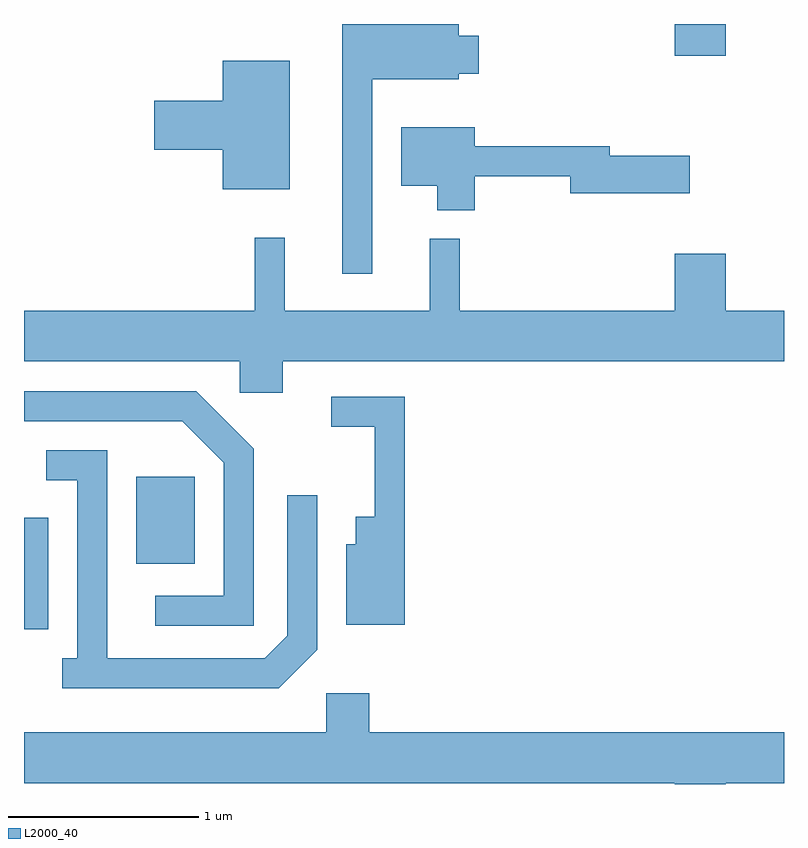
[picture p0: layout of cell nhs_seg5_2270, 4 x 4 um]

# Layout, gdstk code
import gdstk
lib = gdstk.Library(unit=1e-6, precision=1e-09)
def R(c, l, rs):  # rectangles x0, y0, x1, y1
    for r in rs: c.add(gdstk.rectangle(r[:2], r[2:], *l))
def P(c, l, *ps):  # polygons
    for p in ps: c.add(gdstk.Polygon(p, *l))
L2000_40 = (2000, 40)

nhs_seg5_2270 = lib.new_cell('nhs_seg5_2270')
R(nhs_seg5_2270, L2000_40, [(251.611,1510.886,251.739,1511.473), (252.201,1511.231,252.509,1511.689), (255.036,1513.906,255.304,1514.072)])
P(nhs_seg5_2270, L2000_40, [(253.444,1513.781),(253.899,1513.781),(253.899,1513.811),(254.004,1513.811),(254.004,1514.009),(253.899,1514.009),(253.899,1514.072),(253.286,1514.072),(253.286,1512.758),(253.444,1512.758)],
  [(253.009,1513.879),(252.656,1513.879),(252.656,1513.669),(252.296,1513.669),(252.296,1513.411),(252.656,1513.411),(252.656,1513.201),(253.009,1513.201)],
  [(253.984,1513.271),(254.486,1513.271),(254.486,1513.181),(255.114,1513.181),(255.114,1513.379),(254.694,1513.379),(254.694,1513.429),(253.984,1513.429),(253.984,1513.529),(253.596,1513.529),(253.596,1513.221),(253.786,1513.221),(253.786,1513.091),(253.984,1513.091)],
  [(252.974,1512.296),(255.611,1512.296),(255.611,1512.564),(255.304,1512.564),(255.304,1512.864),(255.036,1512.864),(255.036,1512.564),(253.904,1512.564),(253.904,1512.943),(253.746,1512.943),(253.746,1512.564),(252.984,1512.564),(252.984,1512.948),(252.826,1512.948),(252.826,1512.564),(251.611,1512.564),(251.611,1512.296),(252.746,1512.296),(252.746,1512.131),(252.974,1512.131)],
  [(252.819,1511.837),(252.517,1512.139),(251.611,1512.139),(251.611,1511.981),(252.444,1511.981),(252.661,1511.764),(252.661,1511.064),(252.303,1511.064),(252.303,1510.906),(252.819,1510.906)],
  [(253.614,1512.109),(253.228,1512.109),(253.228,1511.951),(253.456,1511.951),(253.456,1511.479),(253.356,1511.479),(253.356,1511.334),(253.306,1511.334),(253.306,1510.911),(253.614,1510.911)],
  [(253.154,1510.779),(253.154,1511.593),(252.996,1511.593),(252.996,1510.852),(252.879,1510.734),(252.049,1510.734),(252.049,1511.829),(251.728,1511.829),(251.728,1511.671),(251.891,1511.671),(251.891,1510.734),(251.813,1510.734),(251.813,1510.576),(252.952,1510.576)],
  [(255.304,1510.076),(255.611,1510.076),(255.611,1510.344),(253.429,1510.344),(253.429,1510.549),(253.201,1510.549),(253.201,1510.344),(251.611,1510.344),(251.611,1510.076),(255.036,1510.076),(255.036,1510.072),(255.304,1510.072)])

lib.write_gds('nhs_seg5_2270.gds')
